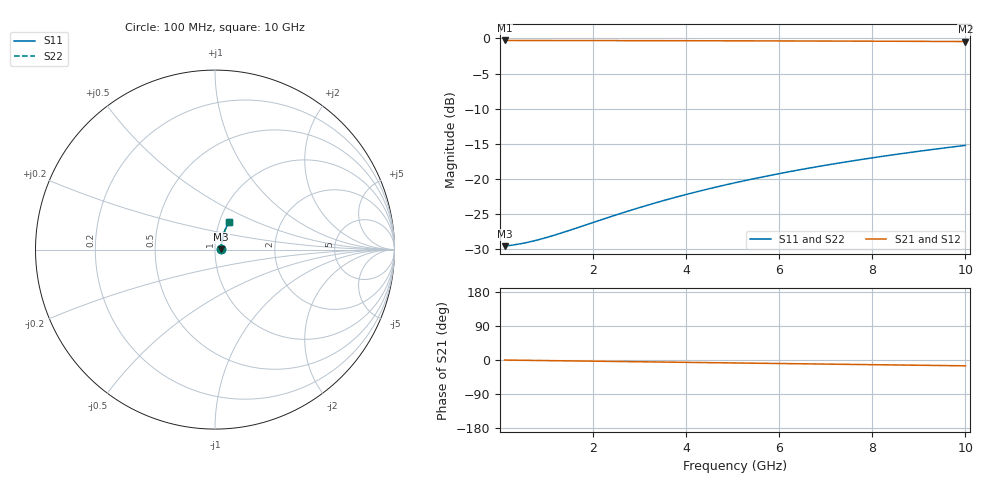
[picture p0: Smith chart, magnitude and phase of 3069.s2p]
# Hz S RI R 50.00
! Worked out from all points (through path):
!   100 points, 100 MHz to 10 GHz, reference 50 ohm
!   highest |S21| = -0.29 dB at 100 MHz (marker M1); lowest = -0.4 dB at 10 GHz (marker M2)
!   group delay of S21, straight-line fit = 4.27 ps
!   lowest |S11| = -29.5 dB at 100 MHz (marker M3), VSWR 1.07, Z = 53.4 + j0.177 ohm
!   |S11| at or under -10 dB: start of sweep to end of sweep
!   |S22| runs from -29.5 to -15.2 dB; largest |S21 - S12| = 0
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1e8  0.0333 0.00165  0.9667 -0.00262  0.9667 -0.00262  0.0333 0.00165
3e8  0.0337 0.00495  0.9663 -0.00785  0.9663 -0.00785  0.0337 0.00495
5e8  0.034 0.00824  0.966 -0.0131  0.966 -0.0131  0.034 0.00824
8e8  0.0344 0.0132  0.9656 -0.0209  0.9656 -0.0209  0.0344 0.0132
1e9  0.0347 0.0165  0.9653 -0.0261  0.9653 -0.0261  0.0347 0.0165
1.2e9  0.035 0.0197  0.9649 -0.0314  0.9649 -0.0314  0.035 0.0197
1.8e9  0.0361 0.0295  0.9637 -0.047  0.9637 -0.047  0.0361 0.0295
2.3e9  0.0372 0.0377  0.9626 -0.06  0.9626 -0.06  0.0372 0.0377
2.7e9  0.0382 0.0442  0.9614 -0.0703  0.9614 -0.0703  0.0382 0.0442
3.1e9  0.0393 0.0506  0.9602 -0.0807  0.9602 -0.0807  0.0393 0.0506
3.4e9  0.0403 0.0555  0.9591 -0.0884  0.9591 -0.0884  0.0403 0.0555
3.8e9  0.0416 0.0619  0.9576 -0.0987  0.9576 -0.0987  0.0416 0.0619
4.2e9  0.0431 0.0682  0.956 -0.1089  0.956 -0.1089  0.0431 0.0682
4.6e9  0.0448 0.0746  0.9542 -0.1191  0.9542 -0.1191  0.0448 0.0746
5.1e9  0.047 0.0824  0.9517 -0.1318  0.9517 -0.1318  0.047 0.0824
5.5e9  0.0489 0.0886  0.9496 -0.1419  0.9496 -0.1419  0.0489 0.0886
5.9e9  0.051 0.0948  0.9473 -0.152  0.9473 -0.152  0.051 0.0948
6.7e9  0.0554 0.107  0.9424 -0.1719  0.9424 -0.1719  0.0554 0.107
7.5e9  0.0604 0.1189  0.9368 -0.1916  0.9368 -0.1916  0.0604 0.1189
8.4e9  0.0666 0.132  0.9299 -0.2135  0.9299 -0.2135  0.0666 0.132
9.2e9  0.0726 0.1434  0.9233 -0.2327  0.9233 -0.2327  0.0726 0.1434
1e10  0.079 0.1544  0.9161 -0.2515  0.9161 -0.2515  0.079 0.1544
